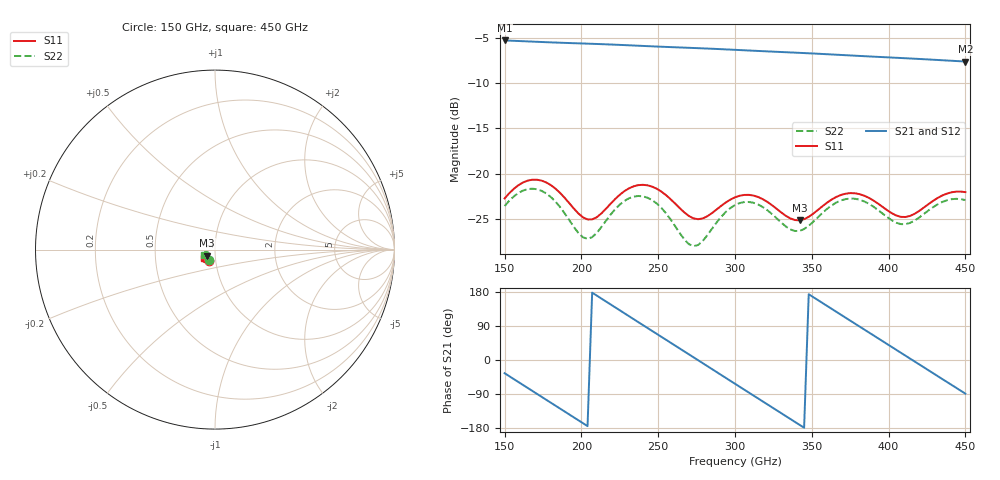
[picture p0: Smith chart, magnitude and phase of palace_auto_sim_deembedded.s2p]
! Created with skrf 1.11.0 (http://scikit-rf.org).
# GHz S DB R 50.0
!freq dBS11 angS11 dBS21 angS21 dBS12 angS12 dBS22 angS22
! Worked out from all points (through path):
!   101 points, 150 GHz to 450 GHz, reference 50 ohm
!   highest |S21| = -5.29 dB at 150 GHz (marker M1); lowest = -7.6 dB at 450 GHz (marker M2)
!   group delay of S21, straight-line fit = 7.17 ps
!   lowest |S11| = -25.1 dB at 342 GHz (marker M3), VSWR 1.12, Z = 45.7 - j3.03 ohm
!   |S11| at or under -10 dB: start of sweep to end of sweep
!   |S22| runs from -28.0 to -21.6 dB; largest |S21 - S12| = 6e-14
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150  -22.72 -118.6  -5.29 -34.8  -5.29 -34.8  -23.56 -120.7
162  -20.96 -127.3  -5.37 -65.9  -5.37 -65.9  -21.86 -131.7
174  -20.76 -141.0  -5.46 -97.0  -5.46 -97.0  -21.88 -147.2
186  -22.10 -151.8  -5.54 -127.9  -5.54 -127.9  -23.65 -159.0
201  -24.81 -147.3  -5.63 -166.7  -5.63 -166.7  -27.01 -150.5
213  -24.38 -132.0  -5.70 162.2  -5.70 162.2  -25.89 -131.6
228  -21.92 -133.0  -5.80 123.3  -5.80 123.3  -23.00 -136.5
240  -21.22 -143.8  -5.89 92.3  -5.89 92.3  -22.50 -150.3
252  -21.96 -154.3  -5.98 61.3  -5.98 61.3  -23.76 -162.8
264  -23.79 -157.1  -6.06 30.4  -6.06 30.4  -26.55 -163.8
276  -25.02 -146.8  -6.14 -0.6  -6.14 -0.6  -27.86 -143.0
288  -23.95 -137.5  -6.23 -31.7  -6.23 -31.7  -25.39 -131.6
300  -22.60 -140.4  -6.33 -62.7  -6.33 -62.7  -23.46 -138.4
318  -22.80 -152.2  -6.47 -109.1  -6.47 -109.1  -23.66 -154.6
342  -25.14 -143.3  -6.66 -171.0  -6.66 -171.0  -26.31 -145.0
351  -24.40 -135.6  -6.73 165.8  -6.73 165.8  -25.29 -136.8
366  -22.56 -136.9  -6.86 127.1  -6.86 127.1  -23.17 -140.2
378  -22.15 -144.8  -6.97 96.2  -6.97 96.2  -22.76 -149.8
402  -24.35 -149.3  -7.18 34.5  -7.18 34.5  -25.13 -156.0
423  -23.73 -133.2  -7.36 -19.5  -7.36 -19.5  -24.44 -140.5
438  -22.19 -136.5  -7.50 -58.0  -7.50 -58.0  -22.93 -145.2
450  -22.03 -143.4  -7.62 -88.8  -7.62 -88.8  -22.91 -153.1
